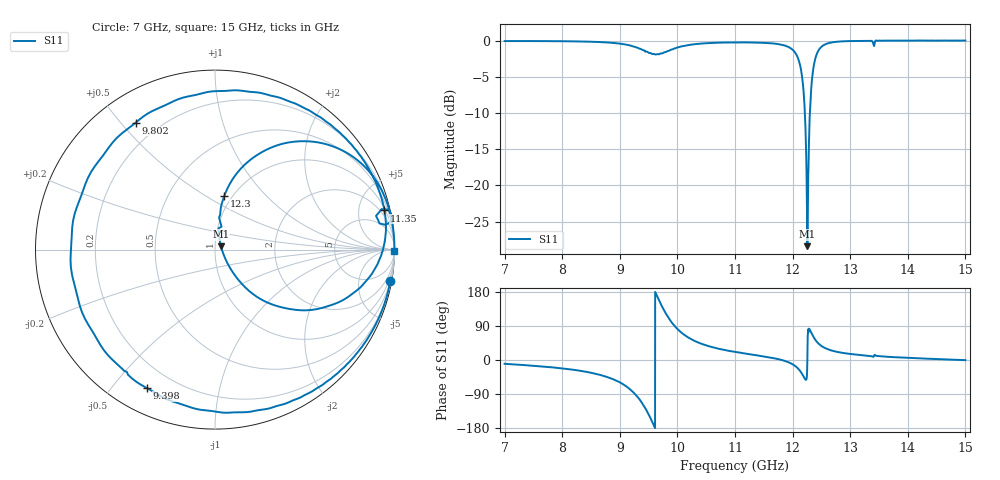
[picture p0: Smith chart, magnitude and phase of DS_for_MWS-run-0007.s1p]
! TOUCHSTONE file generated by CST DESIGN STUDIO
! Date and time: Mon Feb 10 16:49:04 2025
! Project name: C:\Work\MatlabApps\UnitCellType2OptimizationMatlab\CST\unitcell.cst
! Tree item: Tasks\Sweep1\SPara1\S-Parameters
! Header version: 2024
! Port assignment regex: !\s*Touchstone port\s*([0-9]+)\s*=\s*(CST MWS port|CST DES external port|CST DES block port)\s*(.+)\s* \(\"(.*)\"\)(\s*mode\s*([0-9]+))?.*
! Touchstone port assignment:
! Touchstone port 1 = CST DES external port 1 ("")
# GHz S MA R 50
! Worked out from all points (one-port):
!   4001 points, 7 GHz to 15 GHz, reference 50 ohm
!   lowest |S11| = -28.4 dB at 12.26 GHz (marker M1), VSWR 1.08, Z = 53.4 + j1.98 ohm
!   |S11| at or under -10 dB: 12.21 GHz to 12.3 GHz (86.8 MHz wide, 0.708 % of centre)
!   S11 on the Smith chart (normalised r, x): 7 GHz: 1, -11; 9.398 GHz: 0.10, -0.62; 9.802 GHz: 0.12, +0.55; 11.35 GHz: 1.21, +8.60; 12.3 GHz: 0.92, +0.61; 15 GHz: open
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7  0.9917 -10.1
8  0.9889 -22.1
8.624  0.9771 -38.0
9  0.9521 -59.0
9.244  0.9103 -86.6
9.398  0.8598 -116.2
9.516  0.8204 -148.2
9.608  0.804 -178.4
9.69  0.8067 154.9
9.802  0.8341 122.0
10  0.8964 81.8
10.166  0.9279 61.5
10.378  0.9495 45.2
11  0.9708 21.2
11.348  0.9688 13.0
12  0.8636 -11.3
12.09  0.7629 -21.9
12.16  0.5801 -35.6
12.198  0.4072 -45.7
12.234  0.1771 -52.2
12.258  0.03814 29.0
12.298  0.3044 80.2
12.344  0.5751 66.1
12.434  0.8317 45.8
12.62  0.9586 27.9
13  0.9923 16.0
14  0.9988 5.7
15  0.9995 -0.3
